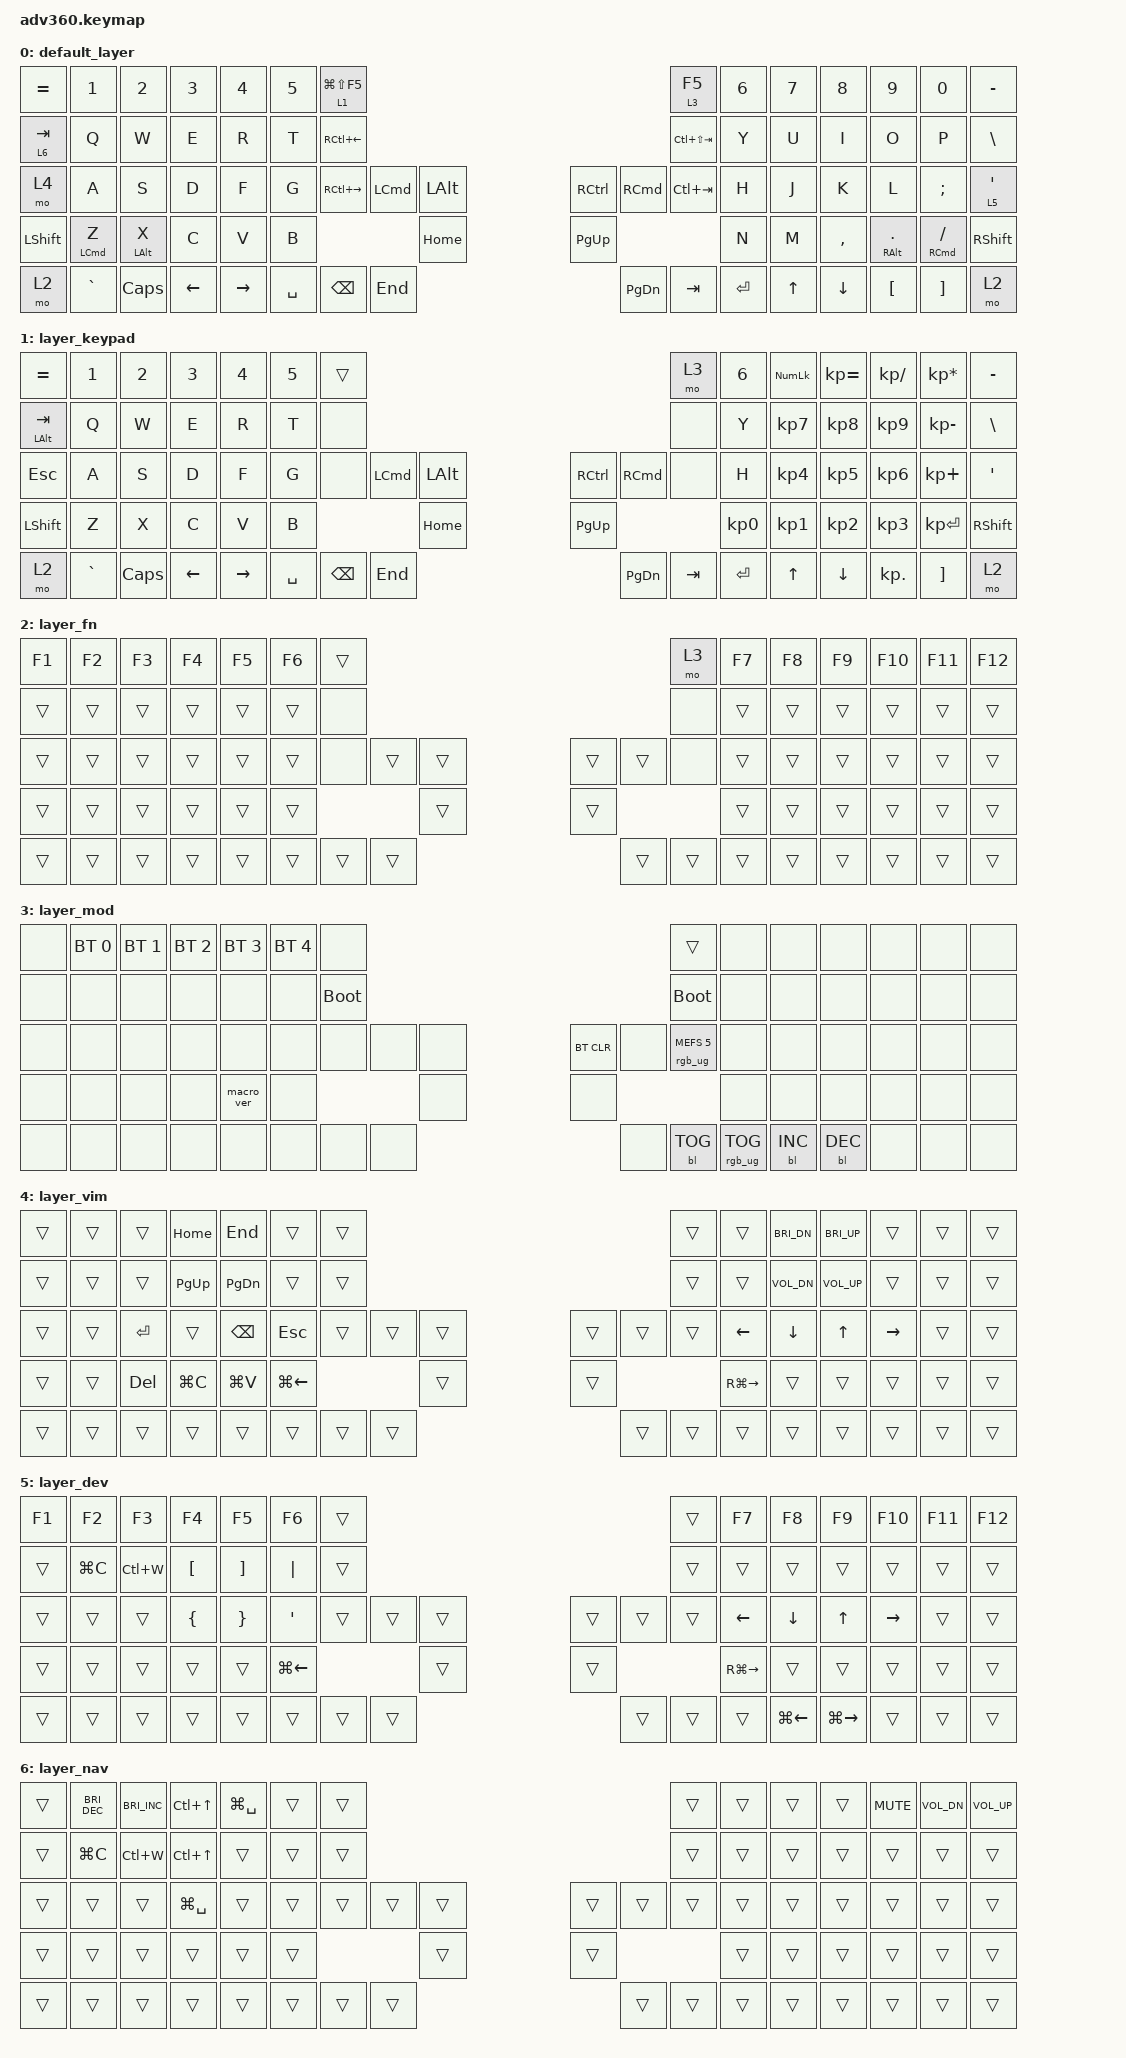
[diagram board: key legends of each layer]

/*
 * Copyright (c) 2020 The ZMK Contributors
 *
 * SPDX-License-Identifier: MIT
 */


/* THIS FILE WAS GENERATED!
 *
 * This file was generated automatically. You may or may not want to
 * edit it directly.
 */

#include <behaviors.dtsi>
#include <dt-bindings/zmk/keys.h>
#include <dt-bindings/zmk/bt.h>
#include <dt-bindings/zmk/rgb.h>
#include <dt-bindings/zmk/backlight.h>

/ {
  behaviors {
    #include "macros.dtsi"
    #include "version.dtsi"

    hm: homerow_mods {
        compatible = "zmk,behavior-hold-tap";
        label = "HOMEROW_MODS";
        #binding-cells = <2>;
        tapping-term-ms = <200>;
        quick_tap_ms = <175>;
        flavor = "tap-preferred";
        bindings = <&kp>, <&kp>;
    };
  };

    keymap {
        compatible = "zmk,keymap";


        default_layer {
            bindings = <
 &kp EQUAL              &kp N1          &kp N2    &kp N3     &kp N4  &kp N5            &lt 1 LG(LS(F5))                                                                                           &lt 3 F5  &kp N6  &kp N7     &kp N8                &kp N9                   &kp N0           &kp MINUS
 &lt 6 TAB               &kp Q           &kp W     &kp E      &kp R   &kp T                &kp RC(LEFT)                                                                                    &kp LC(LS(TAB))   &kp Y   &kp U      &kp I                 &kp O                    &kp P            &kp BSLH
     &mo 4               &kp A           &kp S     &kp D      &kp F   &kp G               &kp RC(RIGHT)  &kp LEFT_COMMAND  &kp LALT                  &kp RIGHT_CONTROL  &kp RIGHT_COMMAND      &kp LC(TAB)   &kp H   &kp J      &kp K                 &kp L                 &kp SEMI  &lt 5 SINGLE_QUOTE
 &kp LSHFT  &mt LEFT_COMMAND Z  &mt LEFT_ALT X     &kp C      &kp V   &kp B                                                &kp HOME                          &kp PG_UP                                       &kp N   &kp M  &kp COMMA  &mt RIGHT_ALT PERIOD  &mt RIGHT_COMMAND SLASH           &kp RSHFT
     &mo 2           &kp GRAVE        &kp CAPS  &kp LEFT  &kp RIGHT                           &kp SPACE     &kp BACKSPACE   &kp END                          &kp PG_DN            &kp TAB        &kp ENTER          &kp UP   &kp DOWN              &kp LBKT                 &kp RBKT               &mo 2
            >;
        };

        layer_keypad {
            bindings = <
    &kp EQUAL     &kp N1    &kp N2    &kp N3     &kp N4  &kp N5               &trans                                                                                &mo 3     &kp N6  &kp KP_NUM  &kp KP_EQUAL  &kp KP_DIVIDE  &kp KP_MULTIPLY  &kp MINUS
 &mt LALT TAB      &kp Q     &kp W     &kp E      &kp R   &kp T                &none                                                                                &none      &kp Y   &kp KP_N7     &kp KP_N8      &kp KP_N9     &kp KP_MINUS   &kp BSLH
      &kp ESC      &kp A     &kp S     &kp D      &kp F   &kp G                &none  &kp LEFT_COMMAND  &kp LALT                  &kp RCTRL  &kp RIGHT_COMMAND      &none      &kp H   &kp KP_N4     &kp KP_N5      &kp KP_N6      &kp KP_PLUS    &kp SQT
    &kp LSHFT      &kp Z     &kp X     &kp C      &kp V   &kp B                                         &kp HOME                  &kp PG_UP                                &kp KP_N0   &kp KP_N1     &kp KP_N2      &kp KP_N3     &kp KP_ENTER  &kp RSHFT
        &mo 2  &kp GRAVE  &kp CAPS  &kp LEFT  &kp RIGHT                    &kp SPACE     &kp BACKSPACE   &kp END                  &kp PG_DN            &kp TAB  &kp ENTER                 &kp UP      &kp DOWN     &kp KP_DOT         &kp RBKT      &mo 2
            >;
        };

        layer_fn {
            bindings = <
 &kp F1  &kp F2  &kp F3  &kp F4  &kp F5  &kp F6            &trans                                                   &mo 3  &kp F7  &kp F8  &kp F9  &kp F10  &kp F11  &kp F12
 &trans  &trans  &trans  &trans  &trans  &trans             &none                                                   &none  &trans  &trans  &trans   &trans   &trans   &trans
 &trans  &trans  &trans  &trans  &trans  &trans             &none  &trans  &trans                  &trans  &trans   &none  &trans  &trans  &trans   &trans   &trans   &trans
 &trans  &trans  &trans  &trans  &trans  &trans                            &trans                  &trans                  &trans  &trans  &trans   &trans   &trans   &trans
 &trans  &trans  &trans  &trans  &trans                    &trans  &trans  &trans                  &trans  &trans  &trans          &trans  &trans   &trans   &trans   &trans
            >;
        };

        layer_mod {
            bindings = <
  &none  &bt BT_SEL 0  &bt BT_SEL 1  &bt BT_SEL 2  &bt BT_SEL 3  &bt BT_SEL 4                  &none                                                                          &trans   &none       &none       &none   &none   &none   &none
  &none         &none         &none         &none         &none         &none            &bootloader                                                                     &bootloader   &none       &none       &none   &none   &none   &none
  &none         &none         &none         &none         &none         &none                  &none   &none   &none                  &bt BT_CLR       &none  &rgb_ug RGB_MEFS_CMD 5   &none       &none       &none   &none   &none   &none
  &none         &none         &none         &none    &macro_ver         &none                                  &none                       &none                                       &none       &none       &none   &none   &none   &none
  &none         &none         &none         &none         &none                                &none   &none   &none                       &none  &bl BL_TOG         &rgb_ug RGB_TOG          &bl BL_INC  &bl BL_DEC   &none   &none   &none
            >;
        };

        layer_vim {
            bindings = <
 &trans  &trans      &trans   &kp HOME        &kp END        &trans            &trans                                                  &trans         &trans  &kp C_BRI_DN  &kp C_BRI_UP     &trans  &trans  &trans
 &trans  &trans      &trans  &kp PG_UP      &kp PG_DN        &trans            &trans                                                  &trans         &trans  &kp K_VOL_DN  &kp K_VOL_UP     &trans  &trans  &trans
 &trans  &trans  &kp RETURN     &trans  &kp BACKSPACE       &kp ESC            &trans  &trans  &trans                  &trans  &trans  &trans       &kp LEFT      &kp DOWN        &kp UP  &kp RIGHT  &trans  &trans
 &trans  &trans  &kp DELETE  &kp LG(C)      &kp LG(V)  &kp LG(LEFT)                            &trans                  &trans                  &kp RG(RIGHT)        &trans        &trans     &trans  &trans  &trans
 &trans  &trans      &trans     &trans         &trans                          &trans  &trans  &trans                  &trans  &trans  &trans                       &trans        &trans     &trans  &trans  &trans
            >;
        };

        layer_dev {
            bindings = <
 &kp F1     &kp F2     &kp F3            &kp F4             &kp F5            &kp F6            &trans                                                  &trans         &kp F7        &kp F8         &kp F9    &kp F10  &kp F11  &kp F12
 &trans  &kp LG(C)  &kp LC(W)  &kp LEFT_BRACKET  &kp RIGHT_BRACKET          &kp PIPE            &trans                                                  &trans         &trans        &trans         &trans     &trans   &trans   &trans
 &trans     &trans     &trans    &kp LEFT_BRACE    &kp RIGHT_BRACE  &kp SINGLE_QUOTE            &trans  &trans  &trans                  &trans  &trans  &trans       &kp LEFT      &kp DOWN         &kp UP  &kp RIGHT   &trans   &trans
 &trans     &trans     &trans            &trans             &trans      &kp LG(LEFT)                            &trans                  &trans                  &kp RG(RIGHT)        &trans         &trans     &trans   &trans   &trans
 &trans     &trans     &trans            &trans             &trans                              &trans  &trans  &trans                  &trans  &trans  &trans                 &kp LG(LEFT)  &kp LG(RIGHT)     &trans   &trans   &trans
            >;
        };

        layer_nav {
            bindings = <
 &trans  &kp C_BRI_DEC  &kp C_BRI_INC     &kp LC(UP)  &kp LG(SPACE)  &trans            &trans                                                  &trans  &trans  &trans  &trans  &kp C_MUTE  &kp C_VOL_DN  &kp C_VOL_UP
 &trans      &kp LG(C)      &kp LC(W)     &kp LC(UP)         &trans  &trans            &trans                                                  &trans  &trans  &trans  &trans      &trans        &trans        &trans
 &trans         &trans         &trans  &kp LG(SPACE)         &trans  &trans            &trans  &trans  &trans                  &trans  &trans  &trans  &trans  &trans  &trans      &trans        &trans        &trans
 &trans         &trans         &trans         &trans         &trans  &trans                            &trans                  &trans                  &trans  &trans  &trans      &trans        &trans        &trans
 &trans         &trans         &trans         &trans         &trans                    &trans  &trans  &trans                  &trans  &trans  &trans          &trans  &trans      &trans        &trans        &trans
            >;
        };

    };
};
